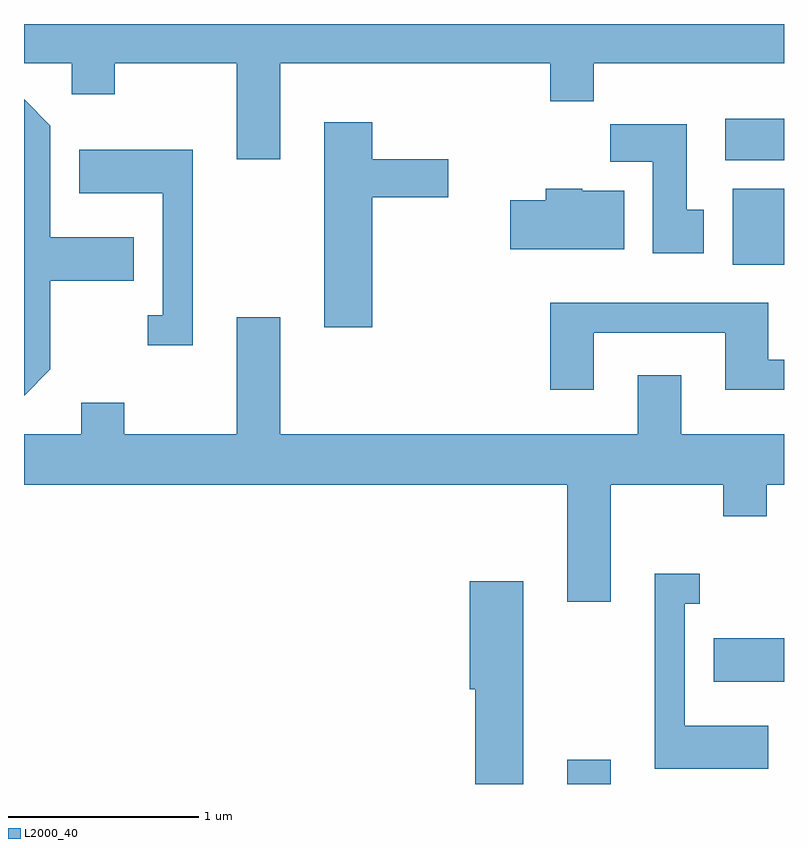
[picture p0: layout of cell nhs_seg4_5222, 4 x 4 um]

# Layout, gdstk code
import gdstk
lib = gdstk.Library(unit=1e-6, precision=1e-09)
def R(c, l, rs):  # rectangles x0, y0, x1, y1
    for r in rs: c.add(gdstk.rectangle(r[:2], r[2:], *l))
def P(c, l, *ps):  # polygons
    for p in ps: c.add(gdstk.Polygon(p, *l))
L2000_40 = (2000, 40)

nhs_seg4_5222 = lib.new_cell('nhs_seg4_5222')
R(nhs_seg4_5222, L2000_40, [(340.471,1361.982,340.699,1362.109), (341.241,1362.521,341.611,1362.749), (341.341,1364.716,341.611,1365.114), (341.301,1365.266,341.611,1365.484)])
P(nhs_seg4_5222, L2000_40, [(338.959,1365.776),(340.381,1365.776),(340.381,1365.576),(340.609,1365.576),(340.609,1365.776),(341.611,1365.776),(341.611,1365.982),(337.611,1365.982),(337.611,1365.776),(337.861,1365.776),(337.861,1365.611),(338.089,1365.611),(338.089,1365.776),(338.731,1365.776),(338.731,1365.271),(338.959,1365.271)],
  [(337.749,1364.164),(337.749,1364.631),(338.189,1364.631),(338.189,1364.859),(337.749,1364.859),(337.749,1365.447),(337.611,1365.585),(337.611,1364.025)],
  [(339.444,1365.071),(339.844,1365.071),(339.844,1365.269),(339.444,1365.269),(339.444,1365.464),(339.191,1365.464),(339.191,1364.386),(339.444,1364.386)],
  [(341.189,1365.004),(341.099,1365.004),(341.099,1365.454),(340.696,1365.454),(340.696,1365.256),(340.921,1365.256),(340.921,1364.776),(341.189,1364.776)],
  [(338.499,1365.319),(337.901,1365.319),(337.901,1365.091),(338.341,1365.091),(338.341,1364.449),(338.263,1364.449),(338.263,1364.291),(338.499,1364.291)],
  [(340.769,1365.104),(340.55,1365.104),(340.55,1365.114),(340.356,1365.114),(340.356,1365.054),(340.171,1365.054),(340.171,1364.796),(340.769,1364.796)],
  [(340.609,1364.356),(341.301,1364.356),(341.301,1364.056),(341.611,1364.056),(341.611,1364.214),(341.529,1364.214),(341.529,1364.514),(340.381,1364.514),(340.381,1364.056),(340.609,1364.056)],
  [(340.699,1363.556),(341.291,1363.556),(341.291,1363.391),(341.519,1363.391),(341.519,1363.556),(341.611,1363.556),(341.611,1363.824),(341.069,1363.824),(341.069,1364.134),(340.841,1364.134),(340.841,1363.824),(338.959,1363.824),(338.959,1364.439),(338.731,1364.439),(338.731,1363.824),(338.139,1363.824),(338.139,1363.989),(337.911,1363.989),(337.911,1363.824),(337.611,1363.824),(337.611,1363.556),(340.471,1363.556),(340.471,1362.941),(340.699,1362.941)],
  [(341.529,1362.289),(341.089,1362.289),(341.089,1362.931),(341.168,1362.931),(341.168,1363.089),(340.931,1363.089),(340.931,1362.061),(341.529,1362.061)],
  [(340.239,1363.049),(339.956,1363.049),(339.956,1362.481),(339.986,1362.481),(339.986,1361.982),(340.239,1361.982)])

lib.write_gds('nhs_seg4_5222.gds')
